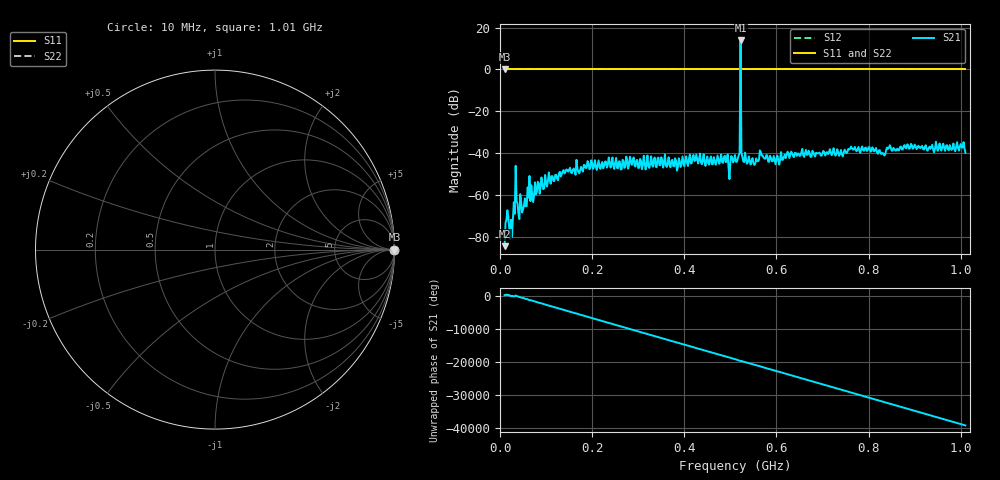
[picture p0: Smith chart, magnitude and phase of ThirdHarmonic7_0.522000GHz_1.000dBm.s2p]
! 8/17/2025 3:21:52 PM
! C:\ANRITSUVNA\TEMP\TEMP.S2P
! CHANNEL.1
! TR.MEASUREMENT
! RAW.DATA
! RF.CORRECTION.OFF
! AVERAGING.OFF
! IF.BANDWIDTH: 5KHZ
! SWEEPTYPE:  FREQ.SWEEP(Linear)
! Reference Plane Port Info
! PORT:  PORT1  PORT2
! DISTANCE:  0  m  0  m
! TIME:  0  s  0  s
! PHASE.OFFSET:  0  deg.  0  deg.
! LOSS:  0  dB  0  dB
! REF.LOSS:  0  dB  0  dB
! REF.FREQ:  0  Hz  0  Hz
! Power Info
! POWER:  -20  dBm  -20  dBm
! EFF.POWER:  -20  dBm  -20  dBm
! SOURCE.ATTEN:  0  dB  0  dB
! TEST.ATTEN:  0  dB  0  dB
# GHZ S RI R 50.0
! FREQ.GHZ  S11RE  S11IM  S21RE  S21IM  S12RE  S12IM  S22RE  S22IM
!; PortSelection: Port_12
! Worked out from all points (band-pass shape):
!   501 points, 10 MHz to 1.01 GHz, reference 50 ohm
!   highest |S21| = 13.83 dB at 522 MHz (marker M1); lowest = -84.4 dB at 10 MHz (marker M2)
!   |S21| within 3 dB of the highest: 521.8884 MHz to 522.112 MHz (223.6 kHz wide, 0.0428 % of centre)
!   lowest |S11| = 0.0 dB at 10 MHz (marker M3)
!   |S11| at or under -10 dB: nowhere
!   |S22| runs from 0.0 to 0.0 dB; largest |S21 - S12| = 3.9
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0.01  1 0  -3.47e-05 4.96e-05  1 0  1 0
0.016  1 0  -0.00043 6.91e-05  1 0  1 0
0.024  1 0  -0.000257 -2.46e-05  1 0  1 0
0.034  1 0  0.00421 0.00272  1 0  1 0
0.044  1 0  -0.000493 -0.000932  1 0  1 0
0.054  1 0  -0.000737 0.000396  1 0  1 0
0.064  1 0  0.00247 0.00147  1 0  1 0
0.07  1 0  -0.000786 -0.000592  1 0  1 0
0.102  1 0  0.00153 0.000481  1 0  1 0
0.178  1 0  -0.00394 -0.0011  1 0  1 0
0.344  1 0  0.00742 -0.00255  1 0  1 0
0.51  1 0  -0.00884 -0.00188  1 0  1 0
0.516  1 0  0.00567 -0.00475  1 0  1 0
0.518  1 0  -0.00647 -0.00603  1 0  1 0
0.522  1 0  4.821 -0.9491  1 0  1 0
0.526  1 0  -0.00184 -0.00777  1 0  1 0
0.528  1 0  -0.00637 -0.000247  1 0  1 0
0.678  1 0  0.00717 -0.00884  1 0  1 0
0.766  1 0  0.0121 0.00134  1 0  1 0
0.832  1 0  -0.00616 -0.00765  1 0  1 0
0.844  1 0  -0.00734 0.0113  1 0  1 0
1.01  1 0  0.00142 -0.0101  1 0  1 0
